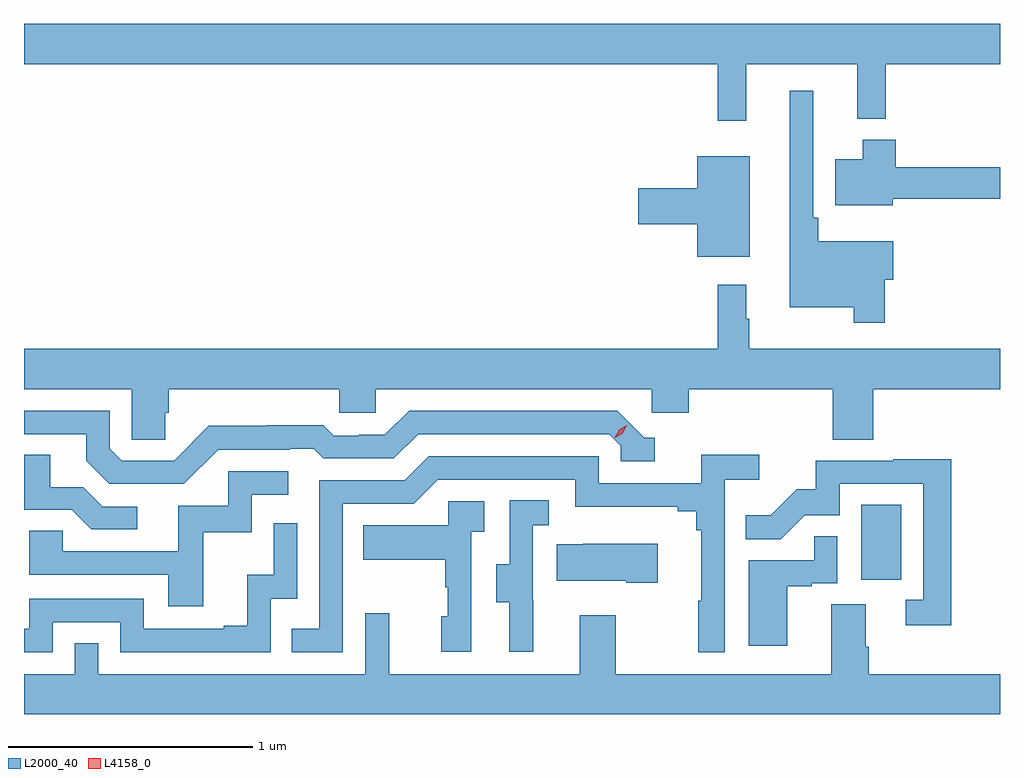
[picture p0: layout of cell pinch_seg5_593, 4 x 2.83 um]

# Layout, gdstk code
import gdstk
lib = gdstk.Library(unit=1e-6, precision=1e-09)
def R(c, l, rs):  # rectangles x0, y0, x1, y1
    for r in rs: c.add(gdstk.rectangle(r[:2], r[2:], *l))
def P(c, l, *ps):  # polygons
    for p in ps: c.add(gdstk.Polygon(p, *l))
L2000_40 = (2000, 40)
L4158_0 = (4158, 0)

pinch_seg5_593 = lib.new_cell('pinch_seg5_593')
R(pinch_seg5_593, L2000_40, [(1084.664,862.638,1084.828,862.945)])
P(pinch_seg5_593, L2000_40, [(1084.193,864.752),(1084.646,864.752),(1084.646,864.527),(1084.763,864.527),(1084.763,864.752),(1085.232,864.752),(1085.232,864.916),(1081.232,864.916),(1081.232,864.752),(1084.075,864.752),(1084.075,864.519),(1084.193,864.519)],
  [(1084.76,863.867),(1084.795,863.867),(1084.795,864.025),(1084.487,864.025),(1084.487,864.121),(1084.467,864.121),(1084.467,864.643),(1084.37,864.643),(1084.37,863.756),(1084.632,863.756),(1084.632,863.691),(1084.76,863.691)],
  [(1084.792,864.199),(1085.232,864.199),(1085.232,864.328),(1084.805,864.328),(1084.805,864.442),(1084.67,864.442),(1084.67,864.361),(1084.556,864.361),(1084.556,864.173),(1084.792,864.173)],
  [(1084.207,864.373),(1083.992,864.373),(1083.992,864.242),(1083.75,864.242),(1083.75,864.095),(1083.992,864.095),(1083.992,863.963),(1084.207,863.963)],
  [(1081.811,863.322),(1081.826,863.322),(1081.826,863.42),(1082.523,863.42),(1082.523,863.322),(1082.673,863.322),(1082.673,863.42),(1083.804,863.42),(1083.804,863.322),(1083.956,863.322),(1083.956,863.42),(1084.547,863.42),(1084.547,863.212),(1084.712,863.212),(1084.712,863.42),(1085.232,863.42),(1085.232,863.584),(1084.204,863.584),(1084.204,863.708),(1084.192,863.708),(1084.192,863.848),(1084.075,863.848),(1084.075,863.584),(1081.232,863.584),(1081.232,863.42),(1081.674,863.42),(1081.674,863.212),(1081.811,863.212)],
  [(1082.028,863.172),(1082.321,863.172),(1082.321,863.175),(1082.42,863.175),(1082.459,863.136),(1082.748,863.136),(1082.847,863.235),(1083.63,863.235),(1083.678,863.187),(1083.678,863.124),(1083.817,863.124),(1083.817,863.22),(1083.774,863.22),(1083.663,863.331),(1082.81,863.331),(1082.711,863.232),(1082.604,863.232),(1082.604,863.229),(1082.501,863.229),(1082.459,863.272),(1082.226,863.272),(1082.226,863.269),(1081.99,863.269),(1081.848,863.127),(1081.632,863.127),(1081.584,863.175),(1081.584,863.331),(1081.232,863.331),(1081.232,863.235),(1081.487,863.235),(1081.487,863.125),(1081.581,863.031),(1081.887,863.031)],
  [(1082.538,862.95),(1082.829,862.95),(1082.928,863.049),(1083.492,863.049),(1083.492,862.937),(1083.911,862.937),(1083.911,862.918),(1083.988,862.918),(1083.988,862.841),(1084.007,862.841),(1084.007,862.553),(1083.996,862.553),(1083.996,862.341),(1084.104,862.341),(1084.104,863.048),(1084.246,863.048),(1084.246,863.15),(1084.007,863.15),(1084.007,863.034),(1083.588,863.034),(1083.588,863.145),(1082.891,863.145),(1082.792,863.046),(1082.442,863.046),(1082.442,862.437),(1082.329,862.437),(1082.329,862.341),(1082.538,862.341)],
  [(1081.696,862.938),(1081.554,862.938),(1081.474,863.018),(1081.339,863.018),(1081.339,863.15),(1081.232,863.15),(1081.232,862.926),(1081.427,862.926),(1081.508,862.845),(1081.696,862.845)],
  [(1085.033,863.132),(1084.795,863.132),(1084.795,863.127),(1084.477,863.127),(1084.477,863.01),(1084.4,863.01),(1084.293,862.903),(1084.189,862.903),(1084.189,862.804),(1084.333,862.804),(1084.431,862.902),(1084.575,862.902),(1084.575,863.031),(1084.917,863.031),(1084.917,862.557),(1084.845,862.557),(1084.845,862.452),(1085.033,862.452)],
  [(1081.967,862.833),(1082.166,862.833),(1082.166,862.986),(1082.314,862.986),(1082.314,863.082),(1082.07,863.082),(1082.07,862.941),(1081.865,862.941),(1081.865,862.755),(1081.391,862.755),(1081.391,862.839),(1081.254,862.839),(1081.254,862.659),(1081.823,862.659),(1081.823,862.53),(1081.967,862.53)],
  [(1083.32,862.557),(1083.318,862.557),(1083.318,862.861),(1083.382,862.861),(1083.382,862.964),(1083.222,862.964),(1083.222,862.701),(1083.167,862.701),(1083.167,862.546),(1083.221,862.546),(1083.221,862.344),(1083.32,862.344)],
  [(1083.066,862.835),(1083.118,862.835),(1083.118,862.959),(1082.97,862.959),(1082.97,862.861),(1082.623,862.861),(1082.623,862.721),(1082.958,862.721),(1082.958,862.607),(1082.968,862.607),(1082.968,862.488),(1082.942,862.488),(1082.942,862.344),(1083.066,862.344)],
  [(1081.35,862.464),(1081.626,862.464),(1081.626,862.341),(1082.244,862.341),(1082.244,862.56),(1082.352,862.56),(1082.352,862.87),(1082.256,862.87),(1082.256,862.658),(1082.147,862.658),(1082.147,862.45),(1082.051,862.45),(1082.051,862.437),(1081.722,862.437),(1081.722,862.56),(1081.254,862.56),(1081.254,862.437),(1081.232,862.437),(1081.232,862.341),(1081.35,862.341)],
  [(1084.36,862.611),(1084.46,862.611),(1084.46,862.623),(1084.566,862.623),(1084.566,862.817),(1084.471,862.817),(1084.471,862.719),(1084.202,862.719),(1084.202,862.368),(1084.36,862.368)],
  [(1083.829,862.786),(1083.523,862.786),(1083.523,862.783),(1083.415,862.783),(1083.415,862.634),(1083.701,862.634),(1083.701,862.627),(1083.829,862.627)],
  [(1085.232,862.252),(1084.694,862.252),(1084.694,862.364),(1084.681,862.364),(1084.681,862.538),(1084.541,862.538),(1084.541,862.252),(1083.657,862.252),(1083.657,862.492),(1083.509,862.492),(1083.509,862.252),(1082.729,862.252),(1082.729,862.501),(1082.631,862.501),(1082.631,862.252),(1081.536,862.252),(1081.536,862.379),(1081.44,862.379),(1081.44,862.252),(1081.232,862.252),(1081.232,862.088),(1085.232,862.088)])
P(pinch_seg5_593, L4158_0, [(1083.654,863.221),(1083.654,863.221),(1083.671,863.253),(1083.702,863.272),(1083.702,863.272),(1083.702,863.272),(1083.686,863.239),(1083.655,863.221)])

lib.write_gds('pinch_seg5_593.gds')
